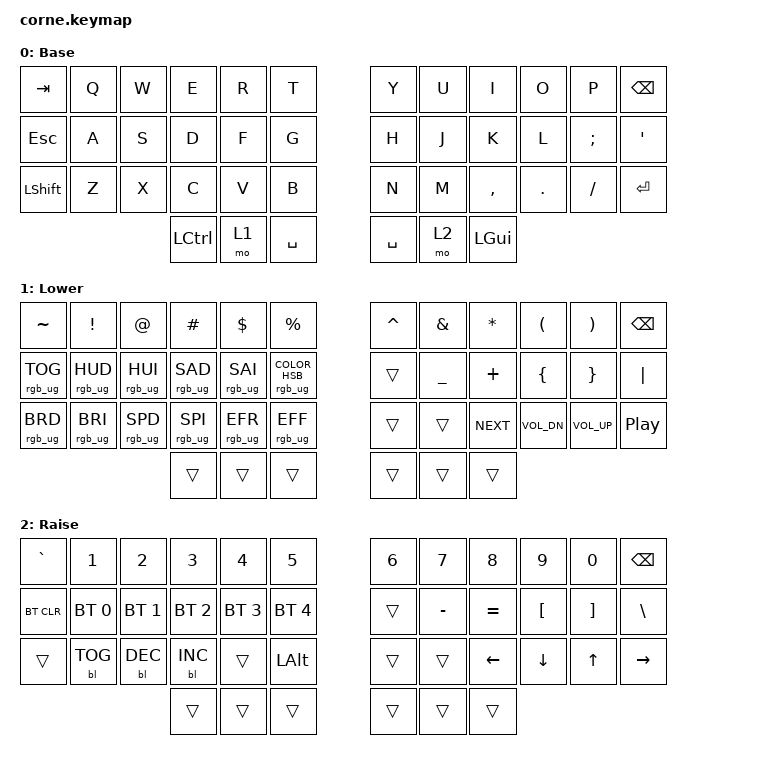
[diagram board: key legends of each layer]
/*
 * Copyright (c) 2020 The ZMK Contributors
 *
 * SPDX-License-Identifier: MIT
 */

#include <behaviors.dtsi>
#include <dt-bindings/zmk/backlight.h>
#include <dt-bindings/zmk/bt.h>
#include <dt-bindings/zmk/keys.h>
#include <dt-bindings/zmk/rgb.h>
#include <dt-bindings/zmk/outputs.h>

/ {
    keymap {
        compatible = "zmk,keymap";

        default_layer {
            label = "Base";
            bindings = <
  &kp TAB  &kp Q  &kp W             &kp E  &kp R      &kp T        &kp Y  &kp U         &kp I    &kp O     &kp P   &kp BSPC
  &kp ESC  &kp A  &kp S             &kp D  &kp F      &kp G        &kp H  &kp J         &kp K    &kp L  &kp SEMI    &kp SQT
&kp LSHFT  &kp Z  &kp X             &kp C  &kp V      &kp B        &kp N  &kp M     &kp COMMA  &kp DOT  &kp FSLH  &kp ENTER
                         &kp LEFT_CONTROL  &mo 1  &kp SPACE    &kp SPACE  &mo 2  &kp LEFT_GUI
            >;
        };

        lower_layer {
            label = "Lower";
            bindings = <
      &kp TILDE         &kp EXCL           &kp AT         &kp HASH       &kp DOLLAR                      &kp PERCENT    &kp CARET   &kp AMPS    &kp STAR  &kp LEFT_PARENTHESIS  &kp RIGHT_PARENTHESIS          &kp BSPC
&rgb_ug RGB_TOG  &rgb_ug RGB_HUD  &rgb_ug RGB_HUI  &rgb_ug RGB_SAD  &rgb_ug RGB_SAI  &rgb_ug RGB_COLOR_HSB(0,100,50)       &trans  &kp UNDER    &kp PLUS        &kp LEFT_BRACE        &kp RIGHT_BRACE          &kp PIPE
&rgb_ug RGB_BRD  &rgb_ug RGB_BRI  &rgb_ug RGB_SPD  &rgb_ug RGB_SPI  &rgb_ug RGB_EFR                  &rgb_ug RGB_EFF       &trans     &trans  &kp C_NEXT          &kp C_VOL_DN        &kp C_VOLUME_UP  &kp C_PLAY_PAUSE
                                                            &trans           &trans                           &trans       &trans     &trans      &trans
            >;
        };

        raise_layer {
            label = "Raise";
            bindings = <
 &kp GRAVE        &kp N1        &kp N2        &kp N3        &kp N4        &kp N5    &kp N6     &kp N7          &kp N8            &kp N9             &kp N0       &kp BSPC
&bt BT_CLR  &bt BT_SEL 0  &bt BT_SEL 1  &bt BT_SEL 2  &bt BT_SEL 3  &bt BT_SEL 4    &trans  &kp MINUS       &kp EQUAL  &kp LEFT_BRACKET  &kp RIGHT_BRACKET  &kp BACKSLASH
    &trans    &bl BL_TOG    &bl BL_DEC    &bl BL_INC        &trans  &kp LEFT_ALT    &trans     &trans  &kp LEFT_ARROW          &kp DOWN       &kp UP_ARROW      &kp RIGHT
                                              &trans        &trans        &trans    &trans     &trans          &trans
            >;
        };
    };
};

&nice_view_spi {
    cs-gpios = <&pro_micro 1 GPIO_ACTIVE_HIGH>;
};

&led_strip {
    chain-length = <54>;
};
